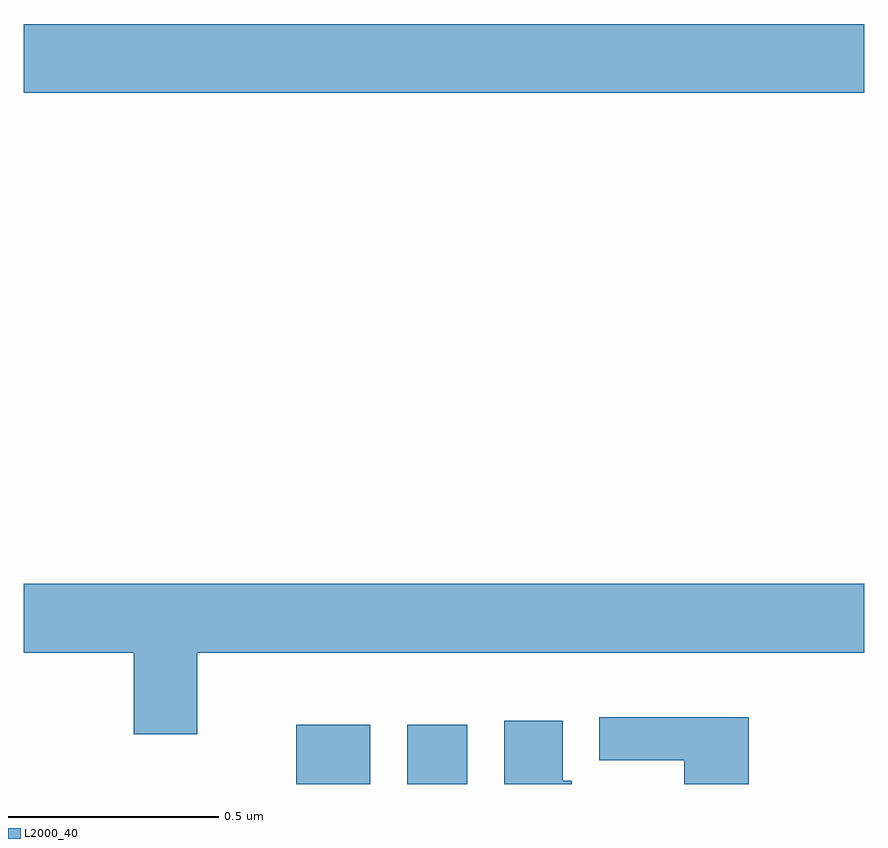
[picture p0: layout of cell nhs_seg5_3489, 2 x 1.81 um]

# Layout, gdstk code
import gdstk
lib = gdstk.Library(unit=1e-6, precision=1e-09)
def R(c, l, rs):  # rectangles x0, y0, x1, y1
    for r in rs: c.add(gdstk.rectangle(r[:2], r[2:], *l))
def P(c, l, *ps):  # polygons
    for p in ps: c.add(gdstk.Polygon(p, *l))
L2000_40 = (2000, 40)

nhs_seg5_3489 = lib.new_cell('nhs_seg5_3489')
R(nhs_seg5_3489, L2000_40, [(158.648,837.799,158.824,837.94), (158.912,837.799,159.055,837.94), (158,839.444,160,839.608)])
P(nhs_seg5_3489, L2000_40, [(158.413,838.112),(160,838.112),(160,838.276),(158,838.276),(158,838.112),(158.261,838.112),(158.261,837.918),(158.413,837.918)],
  [(159.725,837.958),(159.369,837.958),(159.369,837.856),(159.572,837.856),(159.572,837.799),(159.725,837.799)],
  [(159.304,837.807),(159.283,837.807),(159.283,837.949),(159.143,837.949),(159.143,837.799),(159.304,837.799)])

lib.write_gds('nhs_seg5_3489.gds')
